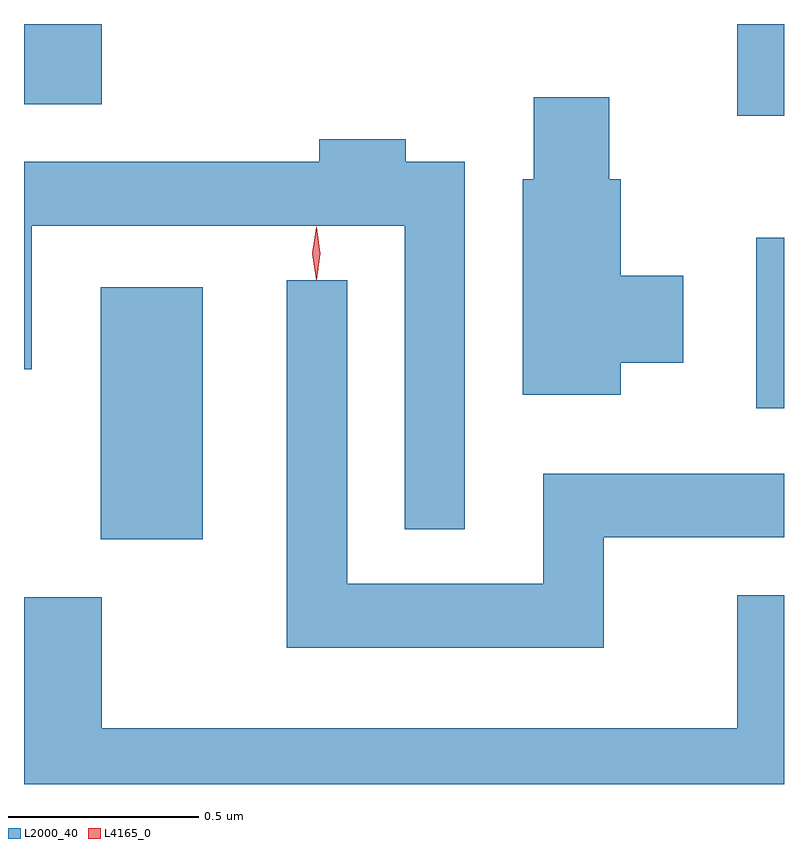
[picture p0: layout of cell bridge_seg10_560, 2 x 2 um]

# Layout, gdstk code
import gdstk
lib = gdstk.Library(unit=1e-6, precision=1e-09)
def R(c, l, rs):  # rectangles x0, y0, x1, y1
    for r in rs: c.add(gdstk.rectangle(r[:2], r[2:], *l))
def P(c, l, *ps):  # polygons
    for p in ps: c.add(gdstk.Polygon(p, *l))
L2000_40 = (2000, 40)
L4165_0 = (4165, 0)

bridge_seg10_560 = lib.new_cell('bridge_seg10_560')
R(bridge_seg10_560, L2000_40, [(802.456,2167.961,802.724,2168.624), (804.181,2168.306,804.254,2168.754), (804.131,2169.076,804.254,2169.317), (802.254,2169.106,802.459,2169.317)])
P(bridge_seg10_560, L2000_40, [(803.824,2168.426),(803.989,2168.426),(803.989,2168.654),(803.824,2168.654),(803.824,2168.909),(803.794,2168.909),(803.794,2169.124),(803.596,2169.124),(803.596,2168.909),(803.566,2168.909),(803.566,2168.341),(803.824,2168.341)],
  [(803.414,2168.954),(803.259,2168.954),(803.259,2169.014),(803.031,2169.014),(803.031,2168.954),(802.254,2168.954),(802.254,2168.408),(802.274,2168.408),(802.274,2168.786),(803.256,2168.786),(803.256,2167.988),(803.414,2167.988)],
  [(803.779,2167.966),(804.254,2167.966),(804.254,2168.134),(803.621,2168.134),(803.621,2167.844),(803.104,2167.844),(803.104,2168.643),(802.946,2168.643),(802.946,2167.676),(803.779,2167.676)],
  [(804.254,2167.814),(804.131,2167.814),(804.131,2167.464),(802.459,2167.464),(802.459,2167.809),(802.254,2167.809),(802.254,2167.317),(804.254,2167.317)])
P(bridge_seg10_560, L4165_0, [(803.023,2168.644),(803.023,2168.644),(803.013,2168.713),(803.023,2168.782),(803.023,2168.783),(803.024,2168.782),(803.033,2168.713),(803.024,2168.644)],
  [(803.023,2168.647),(803.023,2168.647),(803.013,2168.714),(803.023,2168.78),(803.023,2168.78),(803.024,2168.78),(803.033,2168.714),(803.024,2168.647)])

lib.write_gds('bridge_seg10_560.gds')
